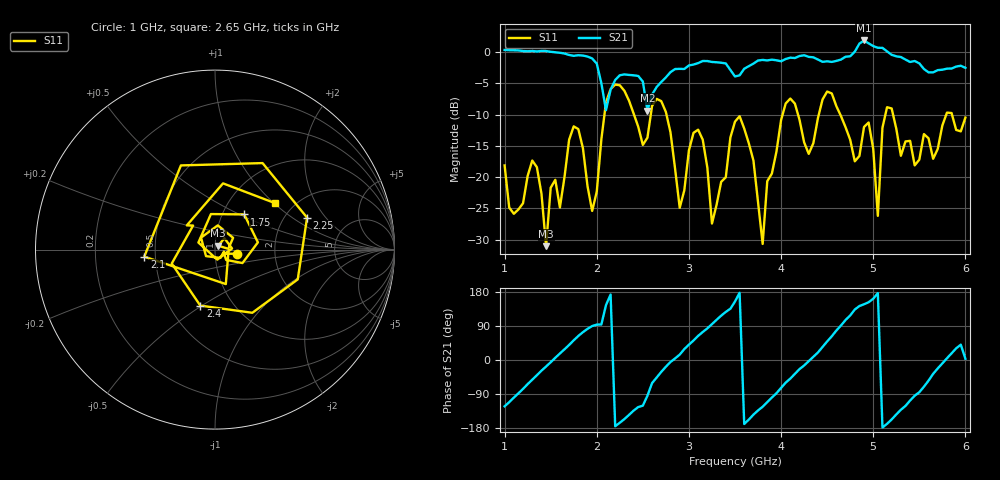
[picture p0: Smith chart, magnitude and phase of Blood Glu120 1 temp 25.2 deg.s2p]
! NanoVNA-App
! Date: 2024-03-20 23:42:10
! Start: 1GHz Stop: 6GHz Points: 101
! S-Parameter data: F S11 S21 S12 S22
# Hz S RI R 50
!	Frequency	S11_Real	S11_Imag	S21_Real	S21_Imag	S12_Real	S12_Imag	S22_Real	S22_Imag
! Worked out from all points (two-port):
!   101 points, 1 GHz to 6 GHz, reference 50 ohm
!   highest |S21| = 1.86 dB at 4.9 GHz (marker M1); lowest = -9.3 dB at 2.55 GHz (marker M2)
!   |S21| within 3 dB of the highest: start of sweep to 1.957 GHz; 4.656 GHz to 5.343 GHz (687.5 MHz wide, 13.8 % of centre)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
!   lowest |S11| = -31.0 dB at 1.45 GHz (marker M3), VSWR 1.06, Z = 51.8 + j2.24 ohm
!   |S11| at or under -10 dB: start of sweep to 2.083 GHz; 2.757 GHz to 4.016 GHz (1.26 GHz wide, 37.2 % of centre); 5.215 GHz to 5.792 GHz (576.9 MHz wide, 10.5 % of centre)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
!   S12 and S22 are empty: the file has one direction only
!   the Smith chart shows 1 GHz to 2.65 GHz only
!   S11 on the Smith chart (normalised r, x): 1 GHz: 1.28, -0.06; 1.75 GHz: 1.27, +0.53; 2.1 GHz: 0.43, -0.04; 2.25 GHz: 2.62, +1.32; 2.4 GHz: 0.71, -0.49; 2.65 GHz: 1.61, +1.01
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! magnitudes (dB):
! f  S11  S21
! 1 GHz  -18.1  0.3
! 1.45 GHz  -31.0  0.2
! 1.75 GHz  -11.9  -0.6
! 1.85 GHz  -15.4  -0.6
! 1.95 GHz  -25.4  -1.0
! 2.1 GHz  -8.0  -9.3
! 2.25 GHz  -5.3  -3.7
! 2.4 GHz  -9.8  -3.7
! 2.55 GHz  -13.7  -9.3
! 2.65 GHz  -7.5  -5.6
! 2.7 GHz  -7.8  -4.8
! 2.9 GHz  -24.9  -2.7
! 3.1 GHz  -12.4  -1.8
! 3.25 GHz  -27.4  -1.6
! 3.5 GHz  -11.1  -3.9
! 3.8 GHz  -30.7  -1.3
! 4.05 GHz  -8.2  -1.1
! 4.35 GHz  -14.6  -0.8
! 4.9 GHz  -12.0  1.9
! 5.05 GHz  -26.2  0.7
! 5.2 GHz  -9.0  -0.4
! 6 GHz  -10.5  -2.5
